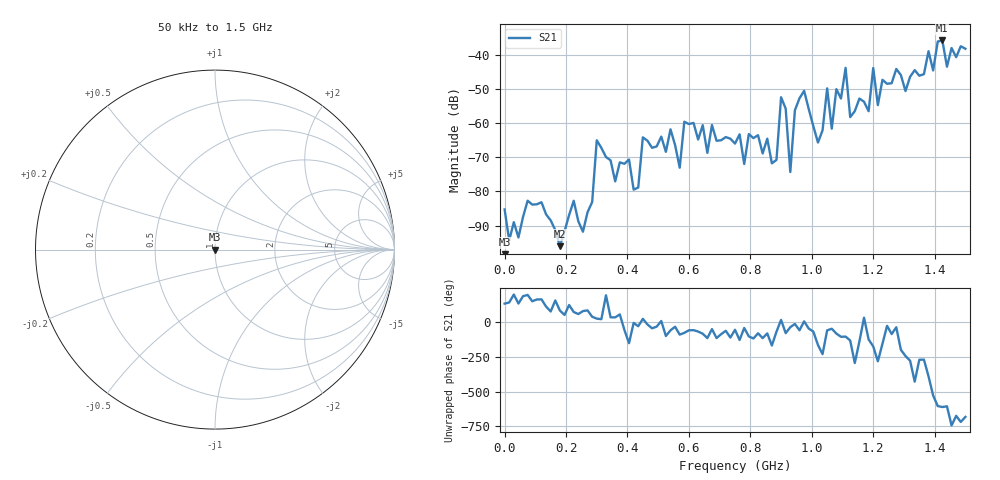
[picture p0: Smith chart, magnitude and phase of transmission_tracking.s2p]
! Created with skrf 1.8.0 (http://scikit-rf.org).
# Hz S RI R 50.0
!freq ReS11 ImS11 ReS21 ImS21 ReS12 ImS12 ReS22 ImS22
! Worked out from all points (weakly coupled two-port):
!   101 points, 50 kHz to 1.5 GHz, reference 50 ohm
!   highest |S21| = -35.88 dB at 1.425 GHz (marker M1); lowest = -96.0 dB at 180 MHz (marker M2)
!   lowest |S11| = - dB at 50 kHz (marker M3), VSWR 1.00, Z = 50 + j0 ohm
!   |S11| at or under -10 dB: start of sweep to end of sweep
!   S12 and S22 are empty: the file has one direction only
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50000  0 0  -3.75e-05 3.95e-05  0 0  0 0
1.80044e8  0 0  1.77e-06 1.57e-05  0 0  0 0
2.550415e8  0 0  4.67e-06 2.53e-05  0 0  0 0
2.850405e8  0 0  5.42e-05 4.39e-05  0 0  0 0
3.0004e8  0 0  0.000505 0.000239  0 0  0 0
4.20036e8  0 0  0.000106 -1.02e-05  0 0  0 0
4.50035e8  0 0  0.000564 0.000249  0 0  0 0
5.10033e8  0 0  0.000626 9.13e-05  0 0  0 0
7.50025e8  0 0  0.000287 -0.00041  0 0  0 0
8.850205e8  0 0  0.000104 -0.000269  0 0  0 0
9.0002e8  0 0  0.00228 0.00066  0 0  0 0
9.30019e8  0 0  0.000155 -0.000113  0 0  0 0
9.60018e8  0 0  0.0012 -0.00196  0 0  0 0
1.005016e9  0 0  0.000339 -0.000831  0 0  0 0
1.050015e9  0 0  0.00165 -0.00275  0 0  0 0
1.065014e9  0 0  0.000559 -0.000608  0 0  0 0
1.110013e9  0 0  -0.00155 -0.00621  0 0  0 0
1.125012e9  0 0  -0.000821 -0.000901  0 0  0 0
1.20001e9  0 0  -0.00634 -0.000594  0 0  0 0
1.260008e9  0 0  0.000284 -0.0038  0 0  0 0
1.425002e9  0 0  -0.00521 0.0152  0 0  0 0
1.5e9  0 0  0.0096 0.00747  0 0  0 0
